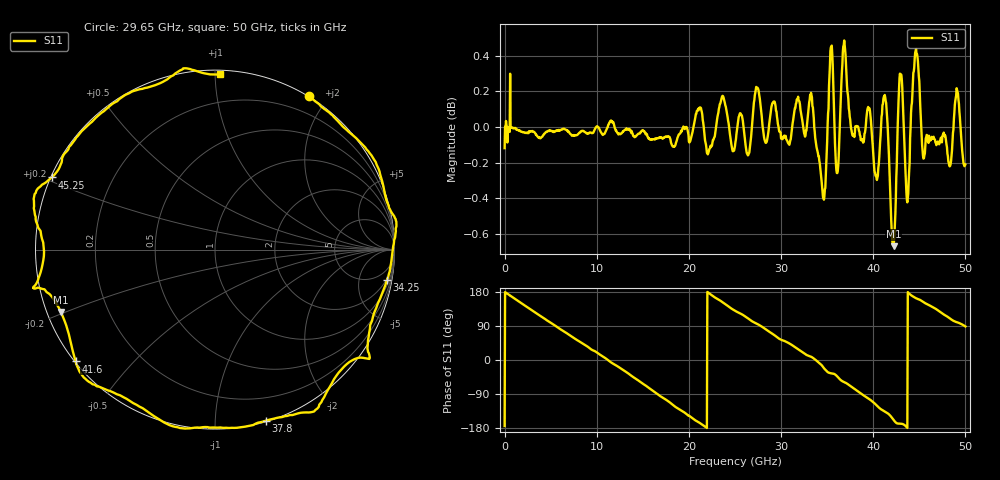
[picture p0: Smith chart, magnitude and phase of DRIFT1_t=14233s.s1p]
!Created with skrf (http://scikit-rf.org).
# Hz S RI R 50.0
!freq ReS11 ImS11
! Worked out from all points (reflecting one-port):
!   1001 points, 300 kHz to 50 GHz, reference 50 ohm
!   lowest |S11| = -0.7 dB at 42.2 GHz (marker M1), VSWR 26.00, Z = 2 - j9.74 ohm
!   phase of S11 starts at -174 deg and turns -817 deg over the sweep
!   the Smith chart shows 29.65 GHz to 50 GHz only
!   S11 on the Smith chart (normalised r, x): 29.65 GHz: -0.00, +1.79; 34.25 GHz: 2, -11; 37.8 GHz: 0.01, -1.34; 41.6 GHz: 0.00, -0.35; 45.25 GHz: 0.00, +0.21; 50 GHz: 0.02, +1.03
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300000  -0.9812 -0.1003
1.450291e9  -0.912 0.4053
3.25028e9  -0.5918 0.8018
6.250262e9  0.2026 0.9778
9.500243e9  0.8926 0.4421
1.250022e10  0.9319 -0.3498
1.580021e10  0.237 -0.963
1.74002e10  -0.2239 -0.968
1.875019e10  -0.5986 -0.7921
2.150017e10  -0.9933 -0.1493
2.350016e10  -0.9232 0.4276
2.500015e10  -0.6328 0.7585
2.740014e10  -0.0937 1.021
2.965012e10  0.5255 0.8531
3.125011e10  0.7869 0.6207
3.31001e10  1.002 0.1767
3.425009e10  0.9594 -0.1679
3.520009e10  0.8532 -0.5708
3.750008e10  0.3718 -0.9335
3.780007e10  0.2849 -0.9525
3.955006e10  -0.2217 -0.9876
4.160005e10  -0.7768 -0.623
4.220005e10  -0.858 -0.348
4.290004e10  -1.013 -0.2136
4.375004e10  -0.955 0.0142
4.525003e10  -0.91 0.4018
4.775001e10  -0.478 0.8715
5e10  0.0252 0.9758
